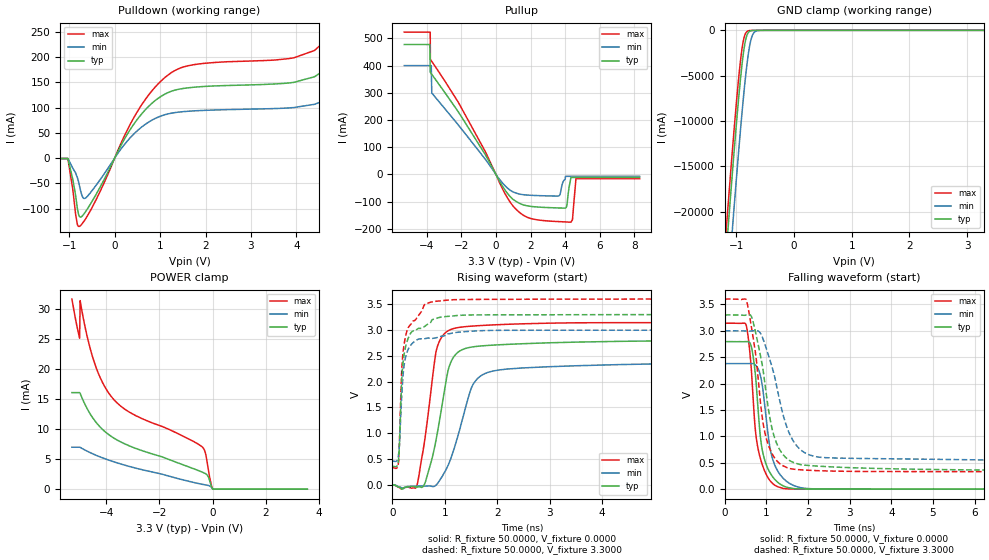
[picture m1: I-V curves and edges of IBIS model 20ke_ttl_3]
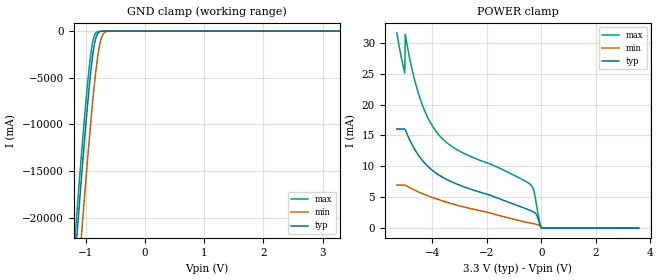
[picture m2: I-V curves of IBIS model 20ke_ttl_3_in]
[IBIS Ver] 3.2
[File Name] qsoc.ibs
[File Rev] 1.4
[Date] January 13, 2004
[Source] Altera, Quartus II 3.0
[Notes]
Unused IOs which have been assigned as tri-stated inputs or
as outputs driving any signal in Quartus II are represented by the NC
[Disclaimer] Data is for modeling purposes only and is not guaranteed.
[Copyright] Copyright (C) 1991-2003 Altera Corporation
[Component] EP20K200EFC484-2X_qSoc
[Manufacturer]  Altera Corporation
[Package]
| RLC values are for 484 FBGA package
|variable  typ  min  max
R_pkg  460,00m   NA   NA
L_pkg  10,00nH   NA   NA
C_pkg  1,00pF   NA   NA
[Pin]  signal_name  model_name   R_pin  L_pin  C_pin
A1  GND   GND  460,00m   10,00nH   1,00pF
A9  N.C.   NC
A10  N.C.   NC
A11  GND   GND  460,00m   10,00nH   1,00pF
A12  N.C.   NC
A13  N.C.   NC
A14  N.C.   NC
A22  GND   GND  460,00m   10,00nH   1,00pF
B1  VCC_INT   POWER  460,00m   10,00nH   1,00pF
B2  GND   GND  460,00m   10,00nH   1,00pF
B21  GND   GND  460,00m   10,00nH   1,00pF
B22  VCC_INT   POWER  460,00m   10,00nH   1,00pF
D12   TRST   20ke_ttl_3   460,00m   10,00nH   1,00pF
D15   TXD   20ke_ttl_3   460,00m   10,00nH   1,00pF
D18   hex[3]   20ke_ttl_3   460,00m   10,00nH   1,00pF
E11   TDO   20ke_ttl_3   460,00m   10,00nH   1,00pF
E12   nCEO   20ke_ttl_3   460,00m   10,00nH   1,00pF
F6  GND   GND  460,00m   10,00nH   1,00pF
F17  GND   GND  460,00m   10,00nH   1,00pF
G7  GND   GND  460,00m   10,00nH   1,00pF
G8  VCC_IO   POWER  460,00m   10,00nH   1,00pF
G16  GND   GND  460,00m   10,00nH   1,00pF
H7  VCC_IO   POWER  460,00m   10,00nH   1,00pF
H8  GND   GND  460,00m   10,00nH   1,00pF
H9  VCC_INT   POWER  460,00m   10,00nH   1,00pF
H14  VCC_IO   POWER  460,00m   10,00nH   1,00pF
H15  GND   GND  460,00m   10,00nH   1,00pF
J8  VCC_INT   POWER  460,00m   10,00nH   1,00pF
J9  GND   GND  460,00m   10,00nH   1,00pF
J10  VCC_IO   POWER  460,00m   10,00nH   1,00pF
J11  GND   GND  460,00m   10,00nH   1,00pF
J13  VCC_INT   POWER  460,00m   10,00nH   1,00pF
J14  GND   GND  460,00m   10,00nH   1,00pF
J15  VCC_IO   POWER  460,00m   10,00nH   1,00pF
K9  VCC_IO   POWER  460,00m   10,00nH   1,00pF
K10  GND   GND  460,00m   10,00nH   1,00pF
K11  VCC_INT   POWER  460,00m   10,00nH   1,00pF
K12  VCC_IO   POWER  460,00m   10,00nH   1,00pF
K13  GND   GND  460,00m   10,00nH   1,00pF
K14  VCC_INT   POWER  460,00m   10,00nH   1,00pF
L1  VCC_IO   POWER  460,00m   10,00nH   1,00pF
L2  GND   GND  460,00m   10,00nH   1,00pF
L4   DATA0   20ke_ttl_3   460,00m   10,00nH   1,00pF
L5   DCLK   20ke_ttl_3   460,00m   10,00nH   1,00pF
L6   clk   20ke_ttl_3_in   460,00m   10,00nH   1,00pF
L9  VCC_CKLK   POWER  460,00m   10,00nH   1,00pF
L10  VCC_INT   POWER  460,00m   10,00nH   1,00pF
L11  GND   GND  460,00m   10,00nH   1,00pF
L12  GND   GND  460,00m   10,00nH   1,00pF
L13  VCC_IO   POWER  460,00m   10,00nH   1,00pF
L18   MSEL1   20ke_ttl_3   460,00m   10,00nH   1,00pF
L19   MSEL0   20ke_ttl_3   460,00m   10,00nH   1,00pF
L22  VCC_IO   POWER  460,00m   10,00nH   1,00pF
M1  GND   GND  460,00m   10,00nH   1,00pF
M4   nCE   20ke_ttl_3   460,00m   10,00nH   1,00pF
M5   TDI   20ke_ttl_3   460,00m   10,00nH   1,00pF
M8  VCC_CKLK   POWER  460,00m   10,00nH   1,00pF
M9  GND_CKLK   GND  460,00m   10,00nH   1,00pF
M10  VCC_IO   POWER  460,00m   10,00nH   1,00pF
M11  GND   GND  460,00m   10,00nH   1,00pF
M12  GND   GND  460,00m   10,00nH   1,00pF
M13  VCC_INT   POWER  460,00m   10,00nH   1,00pF
M19   NCONFIG   20ke_ttl_3   460,00m   10,00nH   1,00pF
M21  GND   GND  460,00m   10,00nH   1,00pF
M22  VCC_INT   POWER  460,00m   10,00nH   1,00pF
N8  GND_CKLK   GND  460,00m   10,00nH   1,00pF
N9  VCC_INT   POWER  460,00m   10,00nH   1,00pF
N10  GND   GND  460,00m   10,00nH   1,00pF
N11  VCC_IO   POWER  460,00m   10,00nH   1,00pF
N12  VCC_INT   POWER  460,00m   10,00nH   1,00pF
N13  GND   GND  460,00m   10,00nH   1,00pF
N14  VCC_IO   POWER  460,00m   10,00nH   1,00pF
N15   display_e   20ke_ttl_3   460,00m   10,00nH   1,00pF
P8  VCC_IO   POWER  460,00m   10,00nH   1,00pF
P9  GND   GND  460,00m   10,00nH   1,00pF
P10  VCC_INT   POWER  460,00m   10,00nH   1,00pF
P11   user_sw[5]   20ke_ttl_3_in   460,00m   10,00nH   1,00pF
P13  VCC_IO   POWER  460,00m   10,00nH   1,00pF
P14  GND   GND  460,00m   10,00nH   1,00pF
P15  VCC_INT   POWER  460,00m   10,00nH   1,00pF
P17   display[1]   20ke_ttl_3   460,00m   10,00nH   1,00pF
R7  VCC_INT   POWER  460,00m   10,00nH   1,00pF
R8  GND   GND  460,00m   10,00nH   1,00pF
R9  VCC_IO   POWER  460,00m   10,00nH   1,00pF
R11   hex[0]   20ke_ttl_3   460,00m   10,00nH   1,00pF
R14  VCC_INT   POWER  460,00m   10,00nH   1,00pF
R15  GND   GND  460,00m   10,00nH   1,00pF
R16  VCC_IO   POWER  460,00m   10,00nH   1,00pF
R18   display_rw   20ke_ttl_3   460,00m   10,00nH   1,00pF
T2   display[4]   20ke_ttl_3   460,00m   10,00nH   1,00pF
T3   display[5]   20ke_ttl_3   460,00m   10,00nH   1,00pF
T4  GND_CKOUT   GND  460,00m   10,00nH   1,00pF
T5  VCC_CKOUT   POWER  460,00m   10,00nH   1,00pF
T7  GND   GND  460,00m   10,00nH   1,00pF
T8  VCC_IO   POWER  460,00m   10,00nH   1,00pF
T9   user_pb1   20ke_ttl_3_in   460,00m   10,00nH   1,00pF
T10   user_sw[2]   20ke_ttl_3_in   460,00m   10,00nH   1,00pF
T15  VCC_IO   POWER  460,00m   10,00nH   1,00pF
T16  GND   GND  460,00m   10,00nH   1,00pF
T18   user_LED0   20ke_ttl_3   460,00m   10,00nH   1,00pF
T19   user_LED1   20ke_ttl_3   460,00m   10,00nH   1,00pF
U1   display[2]   20ke_ttl_3   460,00m   10,00nH   1,00pF
U2   display[3]   20ke_ttl_3   460,00m   10,00nH   1,00pF
U4   display[6]   20ke_ttl_3   460,00m   10,00nH   1,00pF
U6  GND   GND  460,00m   10,00nH   1,00pF
U9   user_sw[1]   20ke_ttl_3_in   460,00m   10,00nH   1,00pF
U10   user_sw[3]   20ke_ttl_3_in   460,00m   10,00nH   1,00pF
U11   hex[4]   20ke_ttl_3   460,00m   10,00nH   1,00pF
U12   user_sw[6]   20ke_ttl_3_in   460,00m   10,00nH   1,00pF
U17  GND   GND  460,00m   10,00nH   1,00pF
U19   display[7]   20ke_ttl_3   460,00m   10,00nH   1,00pF
U21   display[0]   20ke_ttl_3   460,00m   10,00nH   1,00pF
V7   HEADER_SWITCH_enable 20ke_ttl_3   460,00m   10,00nH   1,00pF
V8   hex[1]   20ke_ttl_3   460,00m   10,00nH   1,00pF
V9   user_sw[0]   20ke_ttl_3_in   460,00m   10,00nH   1,00pF
V10   user_sw[4]   20ke_ttl_3_in   460,00m   10,00nH   1,00pF
V17   hex[6]   20ke_ttl_3   460,00m   10,00nH   1,00pF
V18   hex[7]   20ke_ttl_3   460,00m   10,00nH   1,00pF
W8   RXD   20ke_ttl_3_in   460,00m   10,00nH   1,00pF
W10   CONF_DONE   20ke_ttl_3   460,00m   10,00nH   1,00pF
W11   NSTATUS   20ke_ttl_3   460,00m   10,00nH   1,00pF
W12   TCK   20ke_ttl_3   460,00m   10,00nH   1,00pF
W13   TMS   20ke_ttl_3   460,00m   10,00nH   1,00pF
W20   display_rs   20ke_ttl_3   460,00m   10,00nH   1,00pF
Y7   hex[2]   20ke_ttl_3   460,00m   10,00nH   1,00pF
Y8   user_pb2   20ke_ttl_3_in   460,00m   10,00nH   1,00pF
Y10   user_sw[7]   20ke_ttl_3_in   460,00m   10,00nH   1,00pF
Y17   hex[5]   20ke_ttl_3   460,00m   10,00nH   1,00pF
AA1  VCC_INT   POWER  460,00m   10,00nH   1,00pF
AA2  GND   GND  460,00m   10,00nH   1,00pF
AA21  GND   GND  460,00m   10,00nH   1,00pF
AA22  VCC_INT   POWER  460,00m   10,00nH   1,00pF
AB1  GND   GND  460,00m   10,00nH   1,00pF
AB9  N.C.   NC
AB10  N.C.   NC
AB11  GND   GND  460,00m   10,00nH   1,00pF
AB12  N.C.   NC
AB13  N.C.   NC
AB14  N.C.   NC
AB22  GND   GND  460,00m   10,00nH   1,00pF
| Models and submodels in the file (2): 20ke_ttl_3 (I/O), 20ke_ttl_3_in (Input)
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[Model]   20ke_ttl_3
Model_type   I/O
Vinl = 0.8000
Vinh = 2.0000
Vmeas = 1.5000
Cref = 3.50e-11
Rref = 2.44e+02
Vref = 1.43e+00
C_comp   7.00pF   NA   NA
[Temperature Range]   25.0000   85.0000   0.0000
[Voltage Range]   3.3000   3.0000   3.6000
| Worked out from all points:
|   slope of the pulldown table from 0 to 0.495 V, typ, clamps not added: 6.5 ohm
|   slope of the pullup table from 0 to 0.495 V, typ, clamps not added: 9.04 ohm
|   GND clamp passes 1 mA (typ) near -0.64 V on its own axis
|   POWER clamp passes 1 mA (typ) near -0.08 V on its own axis
|   rising waveform, R_fixture 50.0000, V_fixture 0.0000: 20-80 % time 299ps typ, 418ps min, 243ps max; typ from 0 V to 2.79 V
|   rising waveform, R_fixture 50.0000, V_fixture 3.3000: 20-80 % time 120ps typ, 114ps min, 129ps max; typ from 0.359 V to 3.3 V
|   falling waveform, R_fixture 50.0000, V_fixture 0.0000: 20-80 % time 230ps typ, 279ps min, 228ps max; typ from 2.79 V to 0 V
|   falling waveform, R_fixture 50.0000, V_fixture 3.3000: 20-80 % time 399ps typ, 540ps min, 324ps max; typ from 3.3 V to 0.359 V
[Pulldown]
| voltage   I(typ)   I(min)   I(max)
-5V       -900uA     -800uA     -900uA
-1.03V    -900uA     -800uA     -900uA
-860mV    -73.49mA   -29.17mA   -111mA
-780mV    -114.7mA   -52.53mA   -135.2mA
-630mV    -104.4mA   -78.24mA   -118.6mA
540mV     81.45mA    57.43mA    97.83mA
1.38V     135.6mA    90.61mA    175.6mA
3.94V     149.7mA    99.93mA    198.2mA
4.75V     181.9mA    118mA      242mA
5.3V      257.6mA    159.1mA    353.5mA
5.98V     477.2mA    277mA      690.4mA
8.6V      3.339A     1.494A     6.306A
[Pullup]
| voltage   I(typ)   I(min)   I(max)
-5.3V     477.4mA    400mA      523.2mA
-3.82V    477.4mA    400mA      523.2mA
-3.8V     375.7mA    400mA      523.2mA
-3.79V    374.8mA    400mA      422.7mA
-3.74V    370.5mA    400mA      418.1mA
-3.71V    367.8mA    299.5mA    415.3mA
1.54V     -111mA     -74.14mA   -148.1mA
3.62V     -123.2mA   -79.03mA   -173.3mA
4.02V     -123.3mA   -7mA       -174.5mA
4.33V     -10.9mA    -7mA       -175.5mA
4.62V     -10.9mA    -7mA       -15.6mA
8.3V      -10.9mA    -7mA       -15.6mA
[Ramp]
dV/dt_r   1.6765/0.3000n   1.4271/0.4200n   1.8857/0.2500n
dV/dt_f   1.7647/0.4000n   1.5247/0.5400n   1.9603/0.3200n
[GND_Clamp]
|Voltage   I(typ)   I(min)   I(max)
-5V       -370.1A    -375.7A    -367.9A
-1.22V    -28.21A    -34.51A    -25.69A
-1.15V    -22.33A    -28.61A    -19.82A
-1.09V    -17.41A    -23.64A    -14.92A
-1.04V    -13.43A    -19.58A    -10.99A
-950mV    -6.79A     -12.58A    -4.627A
-900mV    -3.672A    -8.958A    -1.943A
-850mV    -1.396A    -5.678A    -470.6mA
-800mV    -319.5mA   -2.96A     -72.94mA
-730mV    -25.05mA   -691.9mA   -7.135mA
-620mV    -604.2uA   -25.05mA   -992.7uA
3.29V     0A         722.7uA    0A
[POWER_Clamp]
|Voltage   I(typ)   I(min)   I(max)
-5.3V     16.05mA    6.978mA    31.6mA
-5.01V    16.05mA    6.978mA    25.09mA
-4.99V    15.94mA    6.951mA    31.34mA
-4.73V    13.42mA    6.325mA    25.47mA
-4.46V    11.51mA    5.767mA    21.13mA
-3.84V    8.836mA    4.722mA    15.53mA
-3.12V    7.166mA    3.755mA    12.76mA
-390mV    2.83mA     809.7uA    7.021mA
-270mV    2.585mA    705.7uA    5.997mA
-90mV     1.104mA    476.5uA    1.56mA
10mV      0A         78.3uA     0A
3.57V     0A         -400nA     0A
[Rising Waveform]
R_fixture = 50.0000
V_fixture = 0.0000
V_fixture_min = 0.0000
V_fixture_max = 0.0000
|Time   Typ(v)   Min(v)   Max(v)
0s        0V         0V         0V
450ps     -42.9mV    -23.2mV    -52.2mV
610ps     10.8mV     -25mV      830.6mV
860ps     1.029V     27.5mV     2.691V
1.08ns    2.288V     424.9mV    2.995V
1.39ns    2.642V     1.483V     3.065V
1.53ns    2.673V     1.931V     3.077V
1.77ns    2.698V     2.159V     3.091V
3.53ns    2.766V     2.308V     3.14V
29.99ns   2.794V     2.378V     3.143V
[Rising Waveform]
R_fixture = 50.0000
V_fixture = 3.3000
V_fixture_min = 3.0000
V_fixture_max = 3.6000
|Time   Typ(v)   Min(v)   Max(v)
0s        358.6mV    457.8mV    332.6mV
120ps     523.4mV    622.3mV    483.9mV
180ps     2.08V      1.79V      2.301V
210ps     2.445V     2.216V     2.636V
260ps     2.716V     2.51V      2.924V
470ps     3.015V     2.812V     3.246V
610ps     3.067V     2.83V      3.493V
820ps     3.219V     2.846V     3.556V
2.17ns    3.295V     2.995V     3.594V
29.99ns   3.3V       2.999V     3.6V
[Falling Waveform]
R_fixture = 50.0000
V_fixture = 0.0000
V_fixture_min = 0.0000
V_fixture_max = 0.0000
|Time   Typ(v)   Min(v)   Max(v)
0s        2.794V     2.378V     3.143V
500ps     2.794V     2.378V     3.131V
620ps     2.742V     2.378V     2.433V
740ps     2.123V     2.347V     1.07V
840ps     1.105V     2.195V     624.1mV
930ps     632.4mV    1.784V     398.1mV
1.11ns    279.3mV    686.9mV    138.1mV
1.43ns    53.2mV     184.8mV    10.6mV
2.53ns    800uV      3.1mV      400uV
29.99ns   0V         0V         0V
[Falling Waveform]
R_fixture = 50.0000
V_fixture = 3.3000
V_fixture_min = 3.0000
V_fixture_max = 3.6000
|Time   Typ(v)   Min(v)   Max(v)
0s        3.3V       2.999V     3.6V
510ps     3.297V     2.995V     3.594V
640ps     3.266V     2.995V     3.064V
750ps     2.93V      2.999V     2.5V
890ps     2.391V     2.898V     1.415V
1.01ns    1.722V     2.631V     924.2mV
1.23ns    896.7mV    2.006V     554.8mV
1.62ns    515.2mV    946.1mV    381.9mV
2.69ns    417.1mV    589mV      340.8mV
29.99ns   358.6mV    457.9mV    332.6mV
[Model]   20ke_ttl_3_in
Model_type   Input
Vinl = 0.8000
Vinh = 1.7000
C_comp   7.00pF   NA   NA
[Temperature Range]   25.0000   85.0000   0.0000
[Voltage Range]   3.3000   3.0000   3.6000
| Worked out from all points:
|   GND clamp passes 1 mA (typ) near -0.64 V on its own axis
|   POWER clamp passes 1 mA (typ) near -0.08 V on its own axis
[GND_Clamp]
|Voltage   I(typ)   I(min)   I(max)
-5V       -370.1A    -375.7A    -367.9A
-1.22V    -28.21A    -34.51A    -25.69A
-1.15V    -22.33A    -28.61A    -19.82A
-1.09V    -17.41A    -23.64A    -14.92A
-1.04V    -13.43A    -19.58A    -10.99A
-950mV    -6.79A     -12.58A    -4.627A
-900mV    -3.672A    -8.958A    -1.943A
-850mV    -1.396A    -5.678A    -470.6mA
-800mV    -319.5mA   -2.96A     -72.94mA
-730mV    -25.05mA   -691.9mA   -7.135mA
-620mV    -604.2uA   -25.05mA   -992.7uA
3.29V     0A         722.7uA    0A
[POWER_Clamp]
|Voltage   I(typ)   I(min)   I(max)
-5.3V     16.05mA    6.978mA    31.6mA
-5.01V    16.05mA    6.978mA    25.09mA
-4.99V    15.94mA    6.951mA    31.34mA
-4.73V    13.42mA    6.325mA    25.47mA
-4.46V    11.51mA    5.767mA    21.13mA
-3.84V    8.836mA    4.722mA    15.53mA
-3.12V    7.166mA    3.755mA    12.76mA
-390mV    2.83mA     809.7uA    7.021mA
-270mV    2.585mA    705.7uA    5.997mA
-90mV     1.104mA    476.5uA    1.56mA
10mV      0A         78.3uA     0A
3.57V     0A         -400nA     0A
